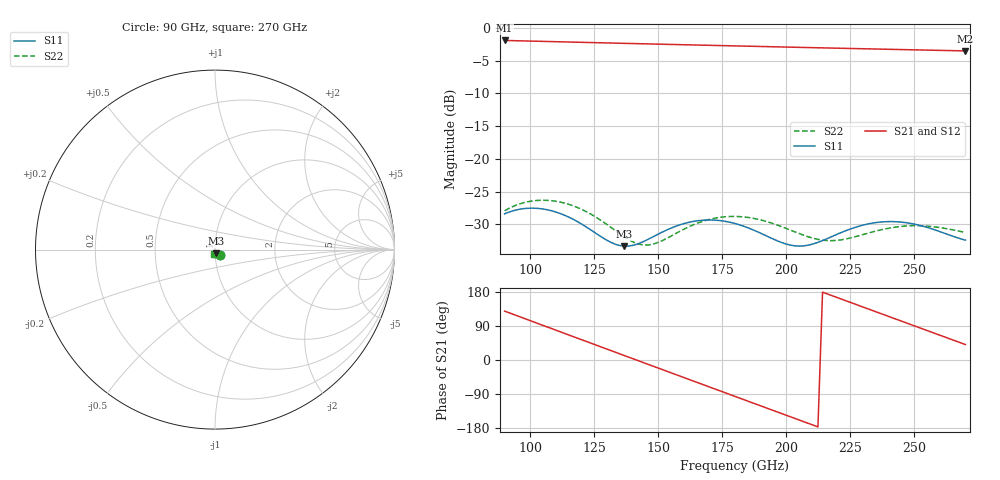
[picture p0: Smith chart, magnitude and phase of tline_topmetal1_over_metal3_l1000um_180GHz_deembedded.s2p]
! Created with skrf 2.2.0 (http://scikit-rf.org).
# GHz S DB R 50.0
! Port[1] = P1
! Port[2] = P2
!freq dBS11 angS11 dBS21 angS21 dBS12 angS12 dBS22 angS22
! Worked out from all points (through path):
!   101 points, 90 GHz to 270 GHz, reference 50 ohm
!   highest |S21| = -1.90 dB at 90 GHz (marker M1); lowest = -3.5 dB at 270 GHz (marker M2)
!   group delay of S21, straight-line fit = 6.92 ps
!   lowest |S11| = -33.4 dB at 136.8 GHz (marker M3), VSWR 1.04, Z = 50.5 - j2.09 ohm
!   |S11| at or under -10 dB: start of sweep to end of sweep
!   |S22| runs from -33.2 to -26.3 dB; largest |S21 - S12| = 1.3e-13
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90  -28.41 -48.1  -1.90 129.0  -1.90 129.0  -27.94 -50.7
97.2  -27.63 -58.4  -1.97 110.9  -1.97 110.9  -26.74 -61.4
104.4  -27.64 -69.2  -2.04 92.8  -2.04 92.8  -26.33 -73.4
111.6  -28.34 -79.1  -2.11 74.8  -2.11 74.8  -26.60 -85.2
120.6  -30.10 -87.1  -2.19 52.2  -2.19 52.2  -27.82 -97.9
129.6  -32.37 -85.2  -2.28 29.7  -2.28 29.7  -29.94 -105.0
136.8  -33.35 -74.6  -2.35 11.7  -2.35 11.7  -31.95 -102.8
144  -32.69 -64.1  -2.41 -6.3  -2.41 -6.3  -33.17 -91.6
151.2  -31.28 -61.3  -2.48 -24.3  -2.48 -24.3  -32.58 -79.6
165.6  -29.46 -71.8  -2.61 -60.2  -2.61 -60.2  -29.80 -78.8
172.8  -29.39 -79.7  -2.67 -78.1  -2.67 -78.1  -29.03 -85.3
180  -29.89 -86.8  -2.74 -96.0  -2.74 -96.0  -28.81 -92.9
187.2  -30.88 -91.5  -2.80 -114.0  -2.80 -114.0  -29.10 -100.3
196.2  -32.48 -90.8  -2.88 -136.3  -2.88 -136.3  -30.08 -106.9
210.6  -33.01 -74.7  -3.00 -172.1  -3.00 -172.1  -32.15 -105.4
217.8  -31.89 -70.4  -3.07 170.0  -3.07 170.0  -32.51 -99.2
225  -30.74 -71.7  -3.13 152.2  -3.13 152.2  -32.11 -93.8
234  -29.81 -78.1  -3.20 129.9  -3.20 129.9  -31.15 -92.4
241.2  -29.60 -84.6  -3.26 112.0  -3.26 112.0  -30.53 -94.8
248.4  -29.86 -90.9  -3.32 94.2  -3.32 94.2  -30.24 -98.9
255.6  -30.55 -95.5  -3.38 76.4  -3.38 76.4  -30.31 -103.1
270  -32.43 -93.7  -3.50 40.8  -3.50 40.8  -31.27 -107.7
